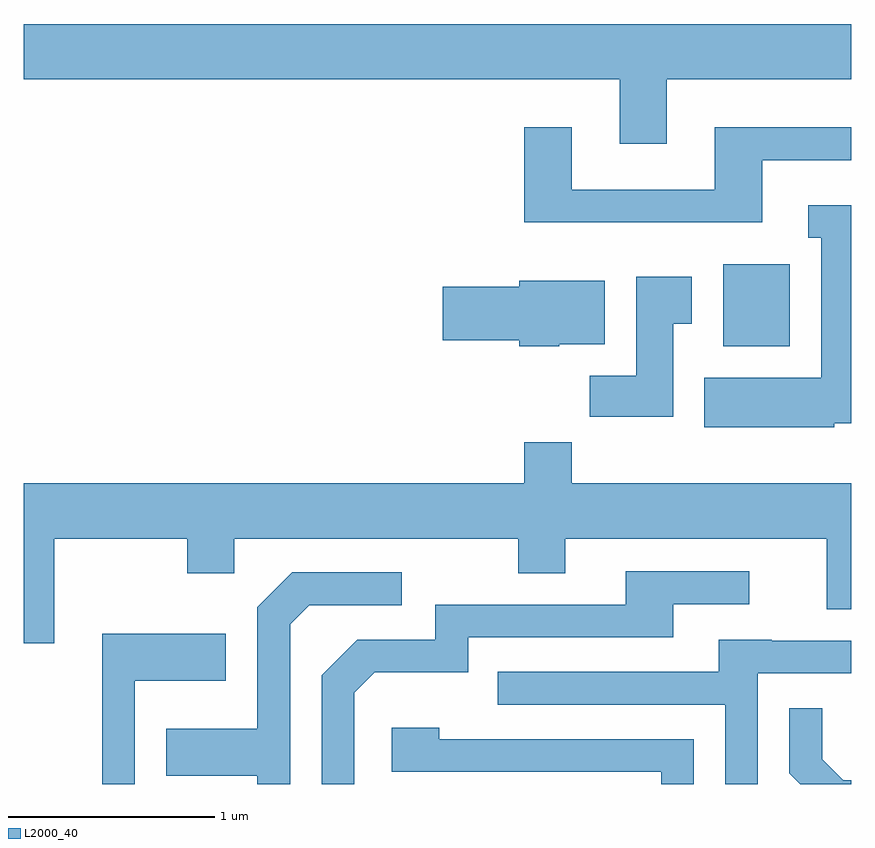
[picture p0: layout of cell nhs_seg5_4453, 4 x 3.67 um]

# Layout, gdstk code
import gdstk
lib = gdstk.Library(unit=1e-6, precision=1e-09)
def R(c, l, rs):  # rectangles x0, y0, x1, y1
    for r in rs: c.add(gdstk.rectangle(r[:2], r[2:], *l))
def P(c, l, *ps):  # polygons
    for p in ps: c.add(gdstk.Polygon(p, *l))
L2000_40 = (2000, 40)

nhs_seg5_4453 = lib.new_cell('nhs_seg5_4453')
R(nhs_seg5_4453, L2000_40, [(320.991,1442.186,321.314,1442.584)])
P(nhs_seg5_4453, L2000_40, [(320.719,1443.476),(321.611,1443.476),(321.611,1443.744),(317.611,1443.744),(317.611,1443.476),(320.491,1443.476),(320.491,1443.166),(320.719,1443.166)],
  [(321.179,1443.086),(321.611,1443.086),(321.611,1443.244),(320.951,1443.244),(320.951,1442.944),(320.259,1442.944),(320.259,1443.244),(320.031,1443.244),(320.031,1442.786),(321.179,1442.786)],
  [(321.529,1441.816),(321.611,1441.816),(321.611,1442.869),(321.403,1442.869),(321.403,1442.711),(321.466,1442.711),(321.466,1442.034),(320.901,1442.034),(320.901,1441.796),(321.529,1441.796)],
  [(320.749,1442.296),(320.839,1442.296),(320.839,1442.524),(320.571,1442.524),(320.571,1442.044),(320.346,1442.044),(320.346,1441.846),(320.749,1441.846)],
  [(320.2,1442.196),(320.419,1442.196),(320.419,1442.504),(320.006,1442.504),(320.006,1442.474),(319.636,1442.474),(319.636,1442.216),(320.006,1442.216),(320.006,1442.186),(320.2,1442.186)],
  [(317.611,1440.751),(317.759,1440.751),(317.759,1441.256),(318.401,1441.256),(318.401,1441.091),(318.629,1441.091),(318.629,1441.256),(320.001,1441.256),(320.001,1441.091),(320.229,1441.091),(320.229,1441.256),(321.491,1441.256),(321.491,1440.916),(321.611,1440.916),(321.611,1441.524),(320.259,1441.524),(320.259,1441.724),(320.031,1441.724),(320.031,1441.524),(317.611,1441.524)],
  [(319.209,1440.514),(319.307,1440.611),(319.759,1440.611),(319.759,1440.781),(320.749,1440.781),(320.749,1440.941),(321.118,1440.941),(321.118,1441.099),(320.521,1441.099),(320.521,1440.939),(319.601,1440.939),(319.601,1440.769),(319.224,1440.769),(319.051,1440.597),(319.051,1440.072),(319.209,1440.072)],
  [(318.899,1440.844),(318.992,1440.936),(319.438,1440.936),(319.438,1441.094),(318.909,1441.094),(318.741,1440.927),(318.741,1440.339),(318.301,1440.339),(318.301,1440.111),(318.741,1440.111),(318.741,1440.072),(318.899,1440.072)],
  [(318.149,1440.571),(318.589,1440.571),(318.589,1440.799),(317.991,1440.799),(317.991,1440.072),(318.149,1440.072)],
  [(321.159,1440.606),(321.611,1440.606),(321.611,1440.764),(321.225,1440.764),(321.225,1440.769),(320.971,1440.769),(320.971,1440.614),(319.903,1440.614),(319.903,1440.456),(321.001,1440.456),(321.001,1440.072),(321.159,1440.072)],
  [(321.611,1440.089),(321.572,1440.089),(321.469,1440.192),(321.469,1440.438),(321.311,1440.438),(321.311,1440.124),(321.363,1440.072),(321.611,1440.072)],
  [(320.849,1440.289),(319.619,1440.289),(319.619,1440.344),(319.391,1440.344),(319.391,1440.131),(320.691,1440.131),(320.691,1440.072),(320.849,1440.072)])

lib.write_gds('nhs_seg5_4453.gds')
